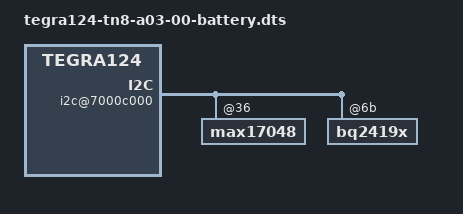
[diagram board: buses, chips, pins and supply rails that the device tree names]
#include "tegra124-tn8-a03-00.dts"
#include "tegra124-platforms/tegra124-tn8-sysedp.dtsi"

/ {
	i2c@7000c000 {
		max17048@36 {
			status = "okay";
		};

		bq2419x@6b {
			charger {
				status = "okay";
			};
		};
	};
};

